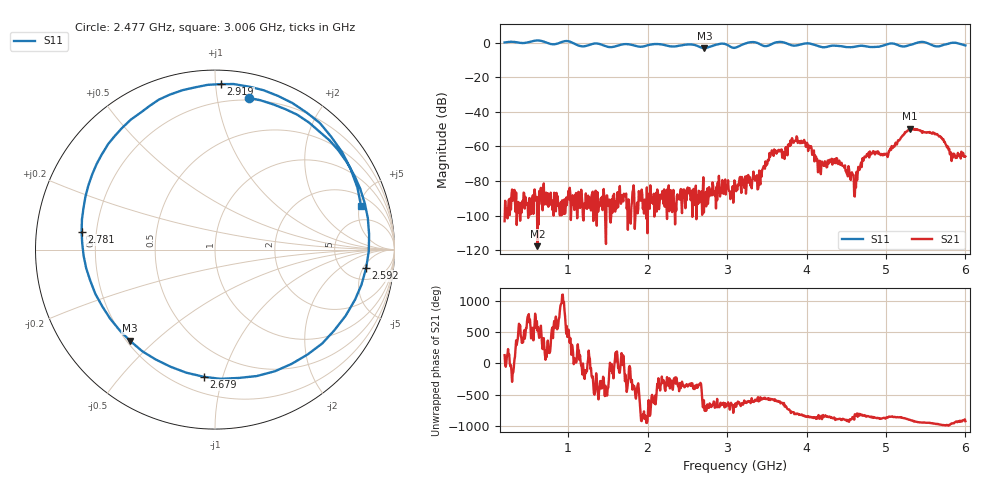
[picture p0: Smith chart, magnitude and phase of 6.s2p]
! NanoVNA-App by OneOfEleven et al v1.1.209 (+OD15)
! Date: 2024-07-30 15:09:51
! Start: 200MHz Stop: 6GHz Points: 801
! S-Parameter data: F S11 S21 S12 S22
# Hz S RI R 50
!  Frequency  S11_Real  S11_Imag  S21_Real  S21_Imag  S12_Real  S12_Imag  S22_Real  S22_Imag
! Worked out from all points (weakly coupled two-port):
!   801 points, 200 MHz to 6 GHz, reference 50 ohm
!   highest |S21| = -49.71 dB at 5.304 GHz (marker M1); lowest = -117.5 dB at 613.2 MHz (marker M2)
!   lowest |S11| = -3.2 dB at 2.716 GHz (marker M3), VSWR 5.55, Z = 10.6 - j20.8 ohm
!   |S11| at or under -10 dB: nowhere
!   S12 and S22 are empty: the file has one direction only
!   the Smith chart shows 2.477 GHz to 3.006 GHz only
!   S11 on the Smith chart (normalised r, x): 2.477 GHz: 0.18, +1.23; 2.592 GHz: 7.95, -5.77; 2.679 GHz: 0.30, -0.87; 2.781 GHz: 0.14, +0.07; 2.919 GHz: 0.08, +1.03; 3.006 GHz: 3.01, +5.20
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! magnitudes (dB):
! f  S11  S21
! 200 MHz  0.0  -103.1
! 613.2 MHz  1.2  -117.5
! 1.171 GHz  -2.2  -89.0
! 2.136 GHz  -0.9  -88.3
! 2.477 GHz  -1.2  -95.6
! 2.592 GHz  -1.4  -93.8
! 2.679 GHz  -3.0  -86.0
! 2.716 GHz  -3.2  -87.7
! 2.781 GHz  -2.5  -88.6
! 2.919 GHz  -0.7  -84.1
! 3.006 GHz  -1.4  -83.3
! 3.1 GHz  -3.0  -80.9
! 3.39 GHz  -0.4  -84.6
! 3.564 GHz  -0.8  -62.2
! 3.847 GHz  -1.8  -56.9
! 4.072 GHz  -1.0  -64.8
! 4.173 GHz  -2.4  -68.6
! 4.608 GHz  -2.4  -88.9
! 4.753 GHz  -2.3  -65.7
! 5.036 GHz  -0.7  -62.8
! 5.304 GHz  -1.4  -49.7
! 6 GHz  -1.7  -65.7
